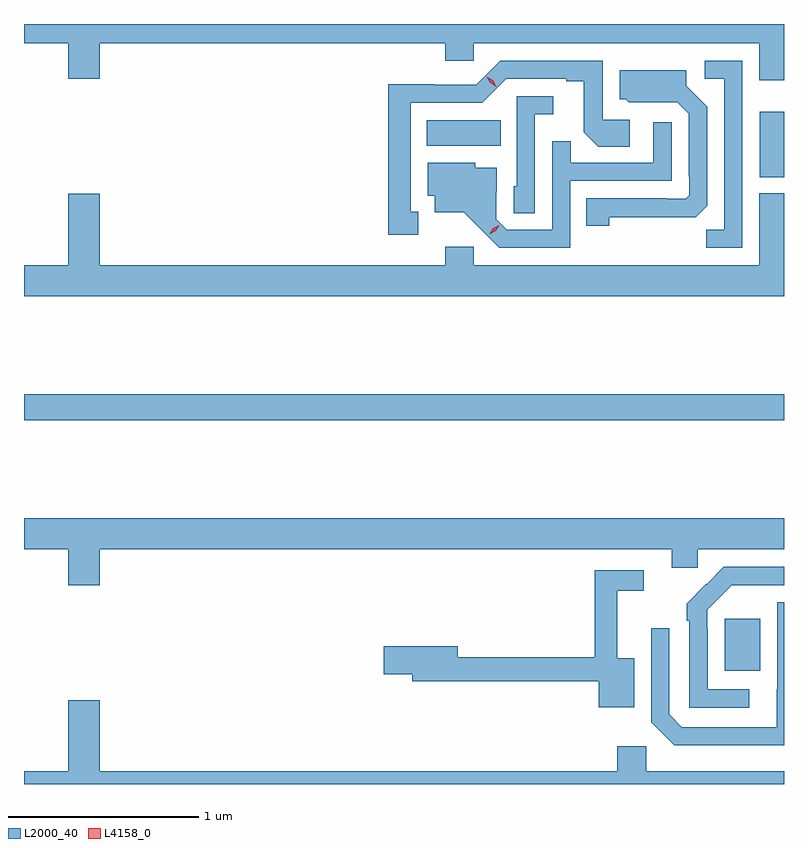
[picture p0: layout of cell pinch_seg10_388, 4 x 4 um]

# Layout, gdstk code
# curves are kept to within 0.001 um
import gdstk
lib = gdstk.Library(unit=1e-6, precision=1e-09)
def R(c, l, rs):  # rectangles x0, y0, x1, y1
    for r in rs: c.add(gdstk.rectangle(r[:2], r[2:], *l))
def P(c, l, *ps):  # polygons
    for p in ps: c.add(gdstk.Polygon(p, *l))
L2000_40 = (2000, 40)
L4158_0 = (4158, 0)

pinch_seg10_388 = lib.new_cell('pinch_seg10_388')
R(pinch_seg10_388, L2000_40, [(600.029,1258.385,600.217,1258.66), (596.342,1259.704,600.342,1259.84), (600.215,1260.983,600.342,1261.327), (598.463,1261.148,598.85,1261.282)])
P(pinch_seg10_388, L2000_40, [(600.342,1261.789),(596.342,1261.789),(596.342,1261.688),(596.576,1261.688),(596.576,1261.5),(596.74,1261.5),(596.74,1261.688),(598.559,1261.688),(598.559,1261.595),(598.71,1261.595),(598.71,1261.688),(600.212,1261.688),(600.212,1261.494),(600.342,1261.494)],
  [(598.417,1260.801),(598.378,1260.801),(598.378,1261.374),(598.755,1261.374),(598.881,1261.5),(599.195,1261.5),(599.195,1261.488),(599.289,1261.488),(599.289,1261.22),(599.365,1261.144),(599.53,1261.144),(599.53,1261.284),(599.388,1261.284),(599.388,1261.596),(598.848,1261.596),(598.722,1261.47),(598.5,1261.47),(598.5,1261.472),(598.26,1261.472),(598.26,1260.681),(598.417,1260.681)],
  [(600.123,1261.596),(599.925,1261.596),(599.925,1261.5),(600.027,1261.5),(600.027,1260.707),(599.932,1260.707),(599.932,1260.612),(600.123,1260.612)],
  [(599.421,1260.772),(599.878,1260.773),(599.937,1260.832),(599.937,1261.354),(599.827,1261.464),(599.827,1261.546),(599.477,1261.546),(599.477,1261.392),(599.508,1261.392),(599.524,1261.376),(599.781,1261.377),(599.841,1261.317),(599.841,1260.988),(599.844,1260.988),(599.844,1260.888),(599.826,1260.87),(599.726,1260.87),(599.726,1260.873),(599.302,1260.873),(599.302,1260.726),(599.421,1260.726)],
  [(599.031,1261.313),(599.128,1261.313),(599.128,1261.41),(598.935,1261.41),(598.935,1260.936),(598.92,1260.936),(598.92,1260.793),(599.031,1260.793)],
  [(599.217,1260.963),(599.751,1260.963),(599.751,1261.273),(599.655,1261.273),(599.655,1261.059),(599.219,1261.059),(599.219,1261.172),(599.121,1261.172),(599.121,1260.705),(598.884,1260.705),(598.827,1260.762),(598.827,1260.904),(598.831,1260.904),(598.831,1261.033),(598.716,1261.033),(598.716,1261.06),(598.466,1261.06),(598.466,1260.884),(598.505,1260.884),(598.505,1260.797),(598.657,1260.797),(598.844,1260.612),(599.217,1260.612)],
  [(600.342,1260.898),(600.212,1260.898),(600.212,1260.52),(598.71,1260.52),(598.71,1260.616),(598.559,1260.616),(598.559,1260.52),(596.74,1260.52),(596.74,1260.895),(596.576,1260.895),(596.576,1260.52),(596.342,1260.52),(596.342,1260.356),(600.342,1260.356)],
  [(596.74,1259.024),(599.75,1259.024),(599.75,1258.926),(599.889,1258.926),(599.889,1259.024),(600.342,1259.024),(600.342,1259.188),(596.342,1259.188),(596.342,1259.024),(596.576,1259.024),(596.576,1258.836),(596.74,1258.836)],
  [(600.16,1258.287),(599.94,1258.287),(599.94,1258.607),(599.937,1258.607),(599.937,1258.707),(600.066,1258.836),(600.342,1258.836),(600.342,1258.932),(600.026,1258.932),(599.829,1258.737),(599.829,1258.649),(599.844,1258.649),(599.844,1258.191),(600.16,1258.191)],
  [(599.554,1258.45),(599.465,1258.45),(599.465,1258.806),(599.605,1258.806),(599.605,1258.914),(599.347,1258.914),(599.347,1258.457),(598.624,1258.457),(598.624,1258.514),(598.236,1258.514),(598.236,1258.367),(598.385,1258.367),(598.385,1258.329),(599.366,1258.329),(599.366,1258.193),(599.554,1258.193)],
  [(600.342,1258.746),(600.306,1258.746),(600.306,1258.289),(600.305,1258.289),(600.305,1258.089),(599.805,1258.089),(599.739,1258.155),(599.739,1258.609),(599.643,1258.609),(599.643,1258.113),(599.764,1257.992),(600.342,1257.992)],
  [(600.342,1257.856),(599.616,1257.856),(599.616,1257.988),(599.465,1257.988),(599.465,1257.856),(596.74,1257.856),(596.74,1258.231),(596.576,1258.231),(596.576,1257.856),(596.342,1257.856),(596.342,1257.789),(600.342,1257.789)])
P(pinch_seg10_388, L4158_0, [(598.794,1260.685),(598.794,1260.686),(598.811,1260.715),(598.842,1260.73),(598.842,1260.73),(598.842,1260.73),(598.825,1260.7),(598.795,1260.685)],
  [(598.827,1261.46),(598.795,1261.479),(598.778,1261.511),(598.778,1261.512),(598.778,1261.512),(598.81,1261.492),(598.827,1261.46),(598.827,1261.46)])

lib.write_gds('pinch_seg10_388.gds')
